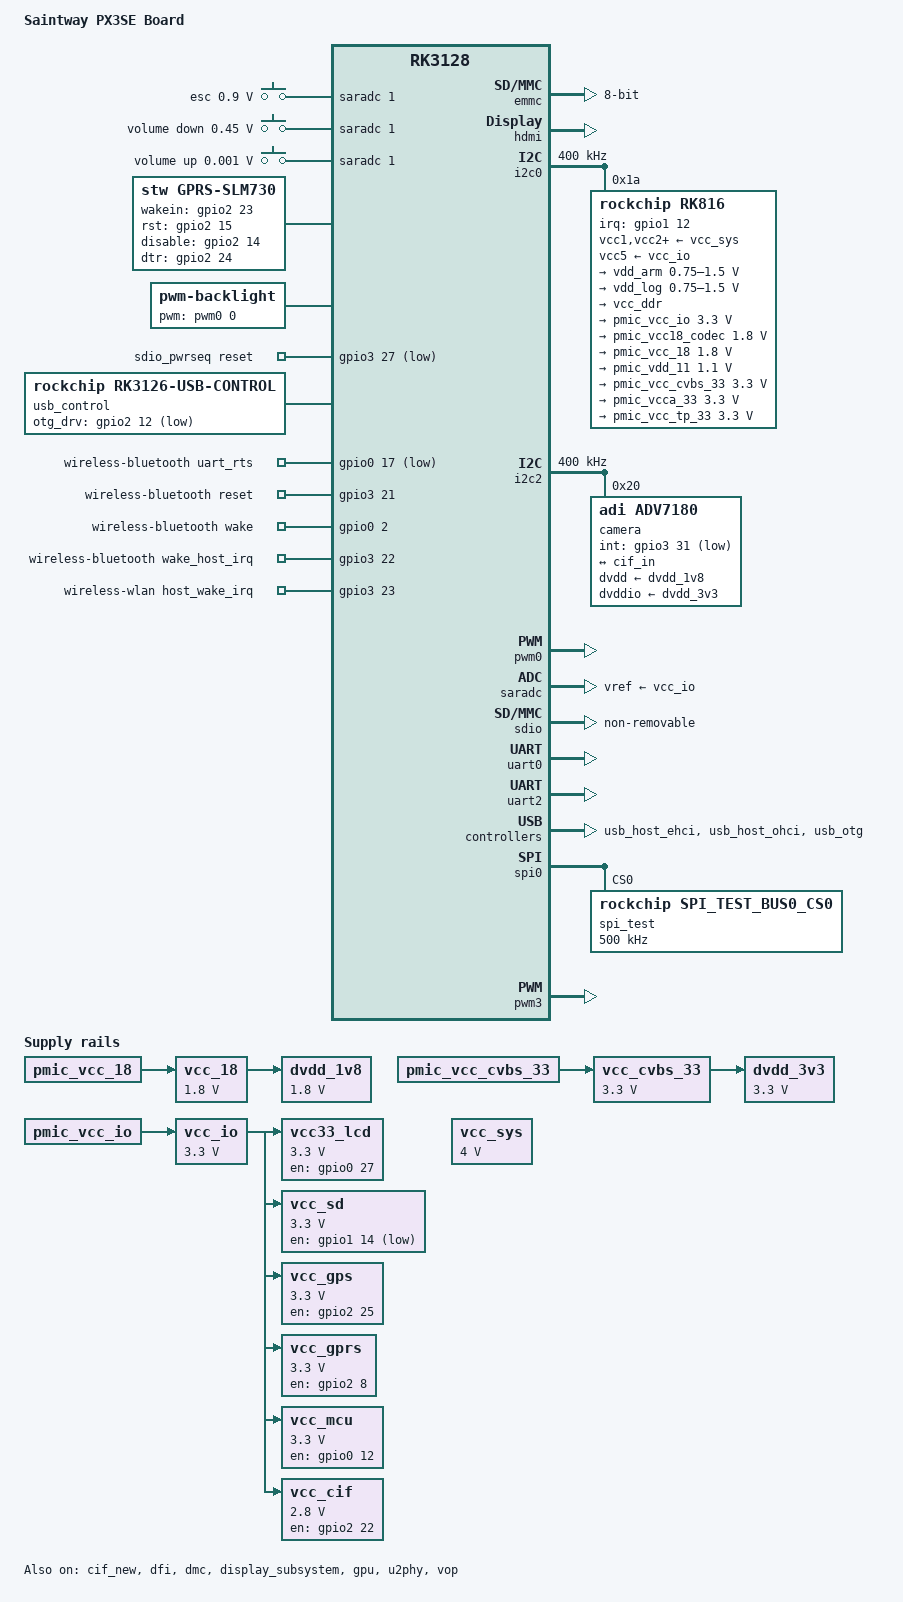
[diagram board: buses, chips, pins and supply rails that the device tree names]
// SPDX-License-Identifier: (GPL-2.0+ OR MIT)
/dts-v1/;

#include "rk3128.dtsi"
#include <dt-bindings/display/drm_mipi_dsi.h>
#include <dt-bindings/input/input.h>
//#include <lcd-mipi.dtsi>


/ {
	model = "Saintway PX3SE Board";
	compatible = "px3se-saintway";

	chosen {
		bootargs = "loglevel=7 root=PARTUUID=614e0000-0000-4b53-8000-1d28000054a9 rootwait";
	};

	adc-keys {
		compatible = "adc-keys";
		io-channels = <&saradc 1>;
		io-channel-names = "buttons";
		poll-interval = <100>;
		keyup-threshold-microvolt = <1800000>;
		
		esc-key {
			linux,code = <KEY_ESC>;
			label = "esc";
			press-threshold-microvolt = <900000>;
		};

		vol-down-key {
			linux,code = <KEY_VOLUMEDOWN>;
			label = "volume down";
			press-threshold-microvolt = <450000>;
		};

		vol-up-key {
			linux,code = <KEY_VOLUMEUP>;
			label = "volume up";
			press-threshold-microvolt = <1000>;
		};
	};

	gprs: gpio-pwr {
                compatible = "stw,gprs-slm730";
                wakein = <&gpio2 23 GPIO_ACTIVE_HIGH>;
                rst = <&gpio2 15 GPIO_ACTIVE_HIGH>;
                disable = <&gpio2 14 GPIO_ACTIVE_HIGH>;
                dtr = <&gpio2 24 GPIO_ACTIVE_HIGH>;
                pinctrl-names = "default";
                pinctrl-0 = <&gprs_slm730>;		
                status = "okay";
        };

       gpio_control: gpio_control {
                compatible = "stw,gpio_control";
                status = "okay";
        };

	backlight: backlight {
		compatible = "pwm-backlight";

		brightness-levels = <0 1 2 3 4 5 6 7 8 9 10 11 12 13 14 15 16
		17 18 19 20 21 22 23 24 25 26 27 28 29 30 31 32 33 34 35 36 37
		38 39 40 41 42 43 44 45 46 47 48 49 50 51 52 53 54 55 56 57 58
		59 60 61 62 63 64 65 66 67 68 69 70 71 72 73 74 75 76 77 78 79
		80 81 82 83 84 85 86 87 88 89 90 91 92 93 94 95 96 97 98 99 100
		101 102 103 104 105 106 107 108 109 110 111 112 113 114 115 116
		117 118 119 120 121 122 123 124 125 126 127 128 129 130 131 132
		133 134 135 136 137 138 139 140 141 142 143 144 145 146 147 148
		149 150 151 152 153 154 155 156 157 158 159 160 161 162 163 164
		165 166 167 168 169 170 171 172 173 174 175 176 177 178 179 180
		181 182 183 184 185 186 187 188 189 190 191 192 193 194 195 196
		197 198 199 200 201 202 203 204 205 206 207 208 209 210 211 212
		213 214 215 216 217 218 219 220 221 222 223 224 225 226 227 228
		229 230 231 232 233 234 235 236 237 238 239 240 241 242 243 244
		245 246 247 248 249 250 251 252 253 254 255>;

		default-brightness-level = <128>;
		pwms = <&pwm0 0 25000 0>;

		status = "okay";
	};

	fiq-debugger {
		compatible = "rockchip,fiq-debugger";

		pinctrl-names = "default";
		pinctrl-0 = <&uart2_xfer>;

		rockchip,serial-id = <2>;
		rockchip,wake-irq = <0>;
		/* If enable uart uses irq instead of fiq */
		rockchip,irq-mode-enable = <0>;
		rockchip,baudrate = <115200>;  /* Only 115200 and 1500000 */
		/* Choose a reserved/no-in-use irq */
		interrupts = <GIC_SPI 127 IRQ_TYPE_LEVEL_LOW>;
		status = "okay";
	};

	sdio_pwrseq: sdio-pwrseq {
		compatible = "mmc-pwrseq-simple";
		/* Use external clock power by VCC_RTC */
		pinctrl-names = "default";
		pinctrl-0 = <&wifi_pwr>;

		/*
		 * On the module itself this is one of these (depending
		 * on the actual card populated):
		 * - SDIO_RESET_L_WL_REG_ON
		 * - PDN (power down when low)
		 */
		reset-gpios = <&gpio3 27 GPIO_ACTIVE_LOW>;
	};

	sound-rk312x {
		compatible = "simple-audio-card";
		status = "disabled";

		simple-audio-card,format = "i2s";
		simple-audio-card,mclk-fs = <256>;
		simple-audio-card,name = "rockchip,rk312x-codec";
		simple-audio-card,cpu {
			sound-dai = <&i2s_8ch>;
		};
		simple-audio-card,codec {
			sound-dai = <&codec>;
		};
	};

	usb_control {
		compatible = "rockchip,rk3126-usb-control";

		otg_drv_gpio = <&gpio2 12 GPIO_ACTIVE_LOW>;
		rockchip,remote_wakeup;
		rockchip,usb_irq_wakeup;
	};

	vcc_18: vcc-18 {
		compatible = "regulator-fixed";
		regulator-name = "vcc_18";
		regulator-min-microvolt = <1800000>;
		regulator-max-microvolt = <1800000>;
		regulator-always-on;
		vin-supply = <&pmic_vcc_18>;
	};

	/* vcc33_lcd and vcc18_lcd share the same enable pin */
	vcc33_lcd: vcc33-lcd {
		compatible = "regulator-fixed";
		pinctrl-names = "default";
		pinctrl-0 = <&lcdc_pwr_en>;

		gpio = <&gpio0 27 GPIO_ACTIVE_HIGH>;
		enable-active-high;

		regulator-name = "vcc33_lcd";
		regulator-min-microvolt = <3300000>;
		regulator-max-microvolt = <3300000>;
		vin-supply = <&vcc_io>;
	};

	vcc_cvbs_33: vcc-cvbs-33 {
		compatible = "regulator-fixed";
		regulator-name= "vcc-cvbs-33";
		regulator-min-microvolt = <3300000>;
		regulator-max-microvolt = <3300000>;
		vin-supply = <&pmic_vcc_cvbs_33>;
	};

	vcc_sys: vcc-sys {
		compatible = "regulator-fixed";
		regulator-name = "vcc_sys";
		regulator-min-microvolt = <4000000>;
		regulator-max-microvolt = <4000000>;
		regulator-always-on;
	};

	vcc_io: vcc-io {
		compatible = "regulator-fixed";
		regulator-name = "vcc_io";
		regulator-min-microvolt = <3300000>;
		regulator-max-microvolt = <3300000>;
		regulator-always-on;
		vin-supply = <&pmic_vcc_io>;
	};

	vcc_sd: vcc-sd {
		compatible = "regulator-fixed";
		gpio = <&gpio1 14 GPIO_ACTIVE_LOW>;
		pinctrl-names = "default";
		pinctrl-0 = <&sdmmc_pwr>;
		regulator-name = "vcc_sd";
		regulator-min-microvolt = <3300000>;
		regulator-max-microvolt = <3300000>;
		vin-supply = <&vcc_io>;
	};

	vcc_gps: vcc-gps {
		compatible = "regulator-fixed";
		enable-active-high;
		gpio = <&gpio2 25 GPIO_ACTIVE_HIGH>;
		pinctrl-names = "default";
		pinctrl-0 = <&gps_pwr>;
		regulator-name = "vcc_gps";
		regulator-min-microvolt = <3300000>;
		regulator-max-microvolt = <3300000>;
		regulator-always-on;
		regulator-boot-on;
		vin-supply = <&vcc_io>;
	};

	vcc_gprs: vcc-gprs {
		compatible = "regulator-fixed";
		enable-active-high;
		gpio = <&gpio2 8 GPIO_ACTIVE_HIGH>;
		pinctrl-names = "default";
		pinctrl-0 = <&gprs_pwr>;
		regulator-name = "vcc_gprs";
		regulator-min-microvolt = <3300000>;
		regulator-max-microvolt = <3300000>;
		regulator-always-on;
		regulator-boot-on;
		vin-supply = <&vcc_io>;
	};

	vcc_mcu: vcc-mcu {
		compatible = "regulator-fixed";
		enable-active-high;
		gpio = <&gpio0 12 GPIO_ACTIVE_HIGH>;
		pinctrl-names = "default";
		pinctrl-0 = <&mcu_pwr>;
		regulator-name = "vcc_mcu";
		regulator-min-microvolt = <3300000>;
		regulator-max-microvolt = <3300000>;
		regulator-always-on;
		regulator-boot-on;
		vin-supply = <&vcc_io>;
	};

	vcc_cif: vcc-cif {
		compatible = "regulator-fixed";
		enable-active-high;
		gpio = <&gpio2 22 GPIO_ACTIVE_HIGH>;
		pinctrl-names = "default";
		pinctrl-0 = <&cif_pwr>;
		regulator-name = "vcc_cif";
		regulator-min-microvolt = <2800000>;
		regulator-max-microvolt = <2800000>;
		regulator-always-on;
		regulator-boot-on;
		vin-supply = <&vcc_io>;
	};

	dvdd_1v8: dvdd-1v8 {
		compatible = "regulator-fixed";
		regulator-name = "dvdd-1v8";
		regulator-min-microvolt = <1800000>;
		regulator-max-microvolt = <1800000>;
		vin-supply = <&vcc_18>;
	};

	dvdd_3v3: dvdd-3v3 {
		compatible = "regulator-fixed";
		regulator-name = "dvdd-3v3";
		regulator-min-microvolt = <3300000>;
		regulator-max-microvolt = <3300000>;
		vin-supply = <&vcc_cvbs_33>;
	};

	wireless-bluetooth {
		compatible = "bluetooth-platdata";

		keep_bt_power_on;

		clocks = <&rk816 1>;
                clock-names = "ext_clock";
		uart_rts_gpios = <&gpio0 17 GPIO_ACTIVE_LOW>;
		pinctrl-names = "default","rts_gpio";
                pinctrl-0 = <&uart0_rts>;
                pinctrl-1 = <&uart0_gpios>;

		//BT,power_gpio = <&gpio3 21 GPIO_ACTIVE_HIGH>;
		BT,reset_gpio    = <&gpio3 21 GPIO_ACTIVE_HIGH>;
		BT,wake_gpio = <&gpio0 2 GPIO_ACTIVE_HIGH>;
		BT,wake_host_irq = <&gpio3 22 GPIO_ACTIVE_HIGH>;
		/* TODO: disabled because it doesn't work */
		status = "okay";
	};

	wireless-wlan {
		compatible = "wlan-platdata";
		pinctrl-names = "default";
		pinctrl-0 = <&wifi_en>;
		wifi_chip_type = "ap6212";
		sdio_vref = <1800>; /*1800mv or 3300mv*/
		WIFI,host_wake_irq = <&gpio3 23 GPIO_ACTIVE_HIGH>;
		/* WIFI power controller by sdio pwrseq */
                //WIFI,poweren_gpio  = <&gpio3 24  GPIO_ACTIVE_HIGH>;
                //WIFI,vbat_gpio  = <&gpio1 3 GPIO_ACTIVE_HIGH>;
		status = "okay";
	};

};

&cif_new {
	status = "okay";

	port {
		cif_in: endpoint {
			remote-endpoint = <&adv7180_out>;
			vsync-active = <0>;
			hsync-active = <1>;
		};
	};
};

&codec {
	#sound-dai-cells = <0>;
	hp-ctl-gpios = <&gpio3 20 GPIO_ACTIVE_HIGH>;
	spk-ctl-gpios = <&gpio0 30 GPIO_ACTIVE_HIGH>;
	spk-mute-delay = <200>;
	hp-mute-delay = <100>;
	spk_volume = <25>;
	hp_volume = <25>;
	capture_volume = <26>;
	gpio_debug = <1>;
	codec_hp_det = <1>;
	status = "disabled";
};

&cpu0 {
	cpu-supply = <&vdd_arm>;
};

&dfi {
	status = "okay";
};

&dmc {
	center-supply = <&vdd_log>;
	status = "okay";
};

&emmc {
	clock-frequency = <50000000>;
	clock-freq-min-max = <400000 50000000>;
	supports-highspeed;
	supports-emmc;
	bootpart-no-access;
	supports-DDR_MODE;
	ignore-pm-notify;
	keep-power-in-suspend;
	//poll-hw-reset

	bus-width = <8>;
	num-slots = <1>;
	pinctrl-names = "default";
	pinctrl-0 = <&emmc_clk &emmc_cmd &emmc_bus8>;
	status = "okay";
};

&display_subsystem {
	status = "okay";
};

&gpu {
	status = "okay";
	mali-supply = <&vdd_log>;
};

&hdmi {
	status = "okay";
};

&i2c0 {
	status = "okay";
	clock-frequency = <400000>;

	rk816: pmic@1a {
		compatible = "rockchip,rk816";
		status = "okay";
		reg = <0x1a>;
		clock-output-names = "xin32k", "rk816-clkout2";
		interrupt-parent = <&gpio1>;
		interrupts = <12 IRQ_TYPE_LEVEL_LOW>;
		pinctrl-names = "default";
		pinctrl-0 = <&pmic_int_l>;
		rockchip,system-power-controller;
		wakeup-source;
		#clock-cells = <1>;
		gpio-controller;
		#gpio-cells = <2>;
		extcon = <&u2phy>;

		vcc1-supply = <&vcc_sys>;
		vcc2-supply = <&vcc_sys>;
		vcc3-supply = <&vcc_sys>;
		vcc4-supply = <&vcc_sys>;
		vcc5-supply = <&vcc_io>;
		vcc6-supply = <&vcc_sys>;

		gpio {
			status = "okay";
		};

		pwrkey {
			status = "okay";
		};

		rtc {
			status = "okay";
		};

		regulators {
			vdd_arm: DCDC_REG1{
				regulator-name= "vdd-arm";
				regulator-min-microvolt = <750000>;
				regulator-max-microvolt = <1500000>;
				regulator-ramp-delay = <6001>;
				regulator-always-on;
				regulator-boot-on;
				regulator-state-mem {
					regulator-on-in-suspend;
					regulator-suspend-microvolt = <900000>;
				};
			};

			vdd_log: DCDC_REG2 {
				regulator-name= "vdd-logic";
				regulator-min-microvolt = <750000>;
				regulator-max-microvolt = <1500000>;
				regulator-ramp-delay = <6001>;
				regulator-always-on;
				regulator-boot-on;
				regulator-state-mem {
					regulator-on-in-suspend;
					regulator-suspend-microvolt = <1000000>;
				};
			};

			vcc_ddr: DCDC_REG3 {
				regulator-name = "vcc-ddr";
				regulator-always-on;
				regulator-boot-on;
			};

			pmic_vcc_io: DCDC_REG4 {
				regulator-name = "pmic-vcc-io";
				regulator-min-microvolt = <3300000>;
				regulator-max-microvolt = <3300000>;
				regulator-always-on;
				regulator-boot-on;
				regulator-state-mem {
					regulator-on-in-suspend;
					regulator-suspend-microvolt = <3000000>;
				};
			};

			pmic_vcc18_codec: LDO_REG1 {
				regulator-name = "pmic-vcc18-codec";
				regulator-min-microvolt = <1800000>;
				regulator-max-microvolt = <1800000>;
				regulator-always-on;
				regulator-boot-on;
				regulator-state-mem {
					regulator-off-in-suspend;
				};
			};

			pmic_vcc_18: LDO_REG2 {
				regulator-name = "pmic-vcc_18";
				regulator-min-microvolt = <1800000>;
				regulator-max-microvolt = <1800000>;
				regulator-always-on;
				regulator-boot-on;
				regulator-state-mem {
					regulator-off-in-suspend;
				};
			};

			pmic_vdd_11: LDO_REG3 {
				regulator-name = "pmic-vdd-11";
				regulator-min-microvolt = <1100000>;
				regulator-max-microvolt = <1100000>;
				regulator-always-on;
				regulator-boot-on;
				regulator-state-mem {
					regulator-on-in-suspend;
					regulator-suspend-microvolt = <1100000>;
				};
			};

			pmic_vcc_cvbs_33: LDO_REG4 {
				regulator-name= "pmic-vcc-cvbs-33";
				regulator-min-microvolt = <3300000>;
				regulator-max-microvolt = <3300000>;
				regulator-state-mem {
					regulator-off-in-suspend;
				};
			};

			pmic_vcca_33: LDO_REG5 {
				regulator-name= "pmic-vcca-33";
				regulator-min-microvolt = <3300000>;
				regulator-max-microvolt = <3300000>;
				regulator-always-on;
				regulator-boot-on;
				regulator-state-mem {
					regulator-off-in-suspend;
				};
			};

			pmic_vcc_tp_33: LDO_REG6 {
				regulator-name= "pmic-vcc-tp-33";
				regulator-min-microvolt = <3300000>;
				regulator-max-microvolt = <3300000>;
				regulator-state-mem {
					regulator-on-in-suspend;
					regulator-suspend-microvolt = <3300000>;
				};
			};
		};
	};
};

&i2c2 {
	status = "okay";
	clock-frequency = <400000>;

	camera: adv7180@20 {
		compatible = "adi,adv7180";
		reg = <0x20>;

		pinctrl-names = "default";
		pinctrl-0 = <&cif_int>;

		dvdd-supply = <&dvdd_1v8>;
		dvddio-supply = <&dvdd_3v3>;
		int-gpios = <&gpio3 31 GPIO_ACTIVE_LOW>;

		status = "okay";

		port {
			adv7180_out: endpoint {
				remote-endpoint = <&cif_in>;
			};
		};
	};

};

&i2s_2ch {
	pinctrl-names = "default";
	pinctrl-0 = <&i2s_bus>;
	#sound-dai-cells = <0>;
	status = "disabled";
};

&i2s_8ch {
	#sound-dai-cells = <0>;
	status = "disabled";
};

&pwm0 {
	status = "okay";
};

&saradc {
	status = "okay";
	vref-supply = <&vcc_io>;
};

&sdio {
	cap-mmc-highspeed;
	cap-sd-highspeed;
	cap-sdio-irq;
	clock-frequency = <37500000>;
	clock-freq-min-max = <200000 37500000>;
	ignore-pm-notify;
	keep-power-in-suspend;
	mmc-pwrseq = <&sdio_pwrseq>;
	non-removable;
	supports-sdio;

	status = "okay";
};

&sdmmc {
	clock-frequency = <37500000>;
	clock-freq-min-max = <400000 37500000>;
	supports-highspeed;
	supports-sd;
	broken-cd;
	card-detect-delay = <200>;
	ignore-pm-notify;
	keep-power-in-suspend;
	vmmc-supply = <&vcc_sd>;
	cd-gpios = <&gpio1 17 GPIO_ACTIVE_HIGH>;
	status = "disabled";
};

&u2phy {
	status = "okay";

	u2phy_otg: otg-port {
		status = "okay";
	};

	u2phy_host: host-port {
		status = "okay";
	};
};

&uart0 {
	status = "okay";
	pinctrl-names = "default";
        pinctrl-0 = <&uart0_xfer  &uart0_cts>;
};

&uart1 {
	/* disable uart1 explicitly since fiq-debugger is on uart1 */
        pinctrl-names = "default";
        pinctrl-0 = <&uart1_xfer>;
	status = "disable";
};

&uart2{
	status = "okay";
};

&usb_host_ehci {
	status = "okay";
};

&usb_host_ohci {
	status = "okay";
};

&usb_otg {
	status = "okay";
};

&vop {
	status = "okay";
};

&vop_mmu {
	status = "okay";
};

&spi0{
	status = "okay";
	max-freq = <48000000>;
	//dma-names = "tx","rx";
	pinctrl-names = "default";
	pinctrl-0 = <&spi2_clk &spi2_tx &spi2_rx &spi2_cs0>;
	spi_test@00{
		compatible = "rockchip,spi_test_bus0_cs0";
		id = <0>;
		reg = <0>;
		spi-max-frequency = <500000>;
	};
};


&pwm3 {
        status = "okay";
        compatible = "rockchip,remotectl-pwm";
        remote_pwm_id = <3>;
        handle_cpu_id = <1>;
        remote_support_psci = <0>;
        interrupts = <GIC_SPI 30 IRQ_TYPE_LEVEL_HIGH>;
        ir_key1{
        status = "okay";
                rockchip,usercode = <0x4040>;
                rockchip,key_table =
                        <0xf2   KEY_REPLY>,
                        <0xba   KEY_BACK>,
                        <0xf4   KEY_UP>,
                        <0xf1   KEY_DOWN>,
                        <0xef   KEY_LEFT>,
                        <0xee   KEY_RIGHT>,
                        <0xbd   KEY_HOME>,
                        <0xea   KEY_VOLUMEUP>,
                        <0xe3   KEY_VOLUMEDOWN>,
                        <0xe2   KEY_SEARCH>,
                        <0xb2   KEY_POWER>,
                        <0xbc   KEY_MUTE>,
                        <0xec   KEY_MENU>,
                        <0xbf   0x190>,
                        <0xe0   0x191>,
                        <0xe1   0x192>,
                        <0xe9   183>,
                        <0xe6   248>,
                        <0xe8   185>,
                        <0xe7   186>,
                        <0xf0   388>,
                        <0xbe   0x175>;
        };
        ir_key2{
                rockchip,usercode = <0xff00>;
                rockchip,key_table =
                        <0xf9   KEY_HOME>,
                        <0xbf   KEY_BACK>,
                        <0xfb   KEY_MENU>,
                        <0xaa   KEY_REPLY>,
                        <0xb9   KEY_UP>,
                        <0xe9   KEY_DOWN>,
                        <0xb8   KEY_LEFT>,
                        <0xea   KEY_RIGHT>,
                        <0xeb   KEY_VOLUMEDOWN>,
                        <0xef   KEY_VOLUMEUP>,
                        <0xf7   KEY_MUTE>,
                        <0xe7   KEY_POWER>,
                        <0xfc   KEY_POWER>,
                        <0xa9   KEY_VOLUMEDOWN>,
                        <0xa8   KEY_VOLUMEDOWN>,
                        <0xe0   KEY_VOLUMEDOWN>,
                        <0xa5   KEY_VOLUMEDOWN>,
                        <0xab   183>,
                        <0xb7   388>,
                        <0xf8   184>,
                        <0xaf   185>,
                        <0xed   KEY_VOLUMEDOWN>,
                        <0xee   186>,
                        <0xb3   KEY_VOLUMEDOWN>,
                        <0xf1   KEY_VOLUMEDOWN>,
                        <0xf2   KEY_VOLUMEDOWN>,
                        <0xf3   KEY_SEARCH>,
                        <0xb4   KEY_VOLUMEDOWN>,
                        <0xbe   KEY_SEARCH>;
        };
        ir_key3{
                rockchip,usercode = <0x1dcc>;
                rockchip,key_table =
                        <0xee   KEY_REPLY>,
                        <0xf0   KEY_BACK>,
                        <0xf8   KEY_UP>,
                        <0xbb   KEY_DOWN>,
                        <0xef   KEY_LEFT>,
                        <0xed   KEY_RIGHT>,
                        <0xfc   KEY_HOME>,
                        <0xf1   KEY_VOLUMEUP>,
                        <0xfd   KEY_VOLUMEDOWN>,
                        <0xb7   KEY_SEARCH>,
                        <0xff   KEY_POWER>,
                        <0xf3   KEY_MUTE>,
                        <0xbf   KEY_MENU>,
                        <0xf9   0x191>,
                        <0xf5   0x192>,
                        <0xb3   388>,
                        <0xbe   KEY_1>,
                        <0xba   KEY_2>,
                        <0xb2   KEY_3>,
                        <0xbd   KEY_4>,
                        <0xf9   KEY_5>,
                        <0xb1   KEY_6>,
                        <0xfc   KEY_7>,
                        <0xf8   KEY_8>,
                        <0xb0   KEY_9>,
                        <0xb6   KEY_0>,
                        <0xb5   KEY_BACKSPACE>;
        };
};


&pinctrl {
	camera {
		cif_int: cif-int {
			rockchip,pins = <2 2 RK_FUNC_GPIO &pcfg_pull_default>;
		};
	};

	pmic {
		pmic_int_l: pmic-int-l {
			rockchip,pins = <1 12 RK_FUNC_GPIO &pcfg_pull_default>;
		};
	};

	sdmmc {
		sdmmc_pwr: sdmmc-pwr {
			rockchip,pins = <1 14 RK_FUNC_GPIO &pcfg_pull_default>;
		};
	};

	gps {
		gps_pwr: gps-pwr {
			rockchip,pins = <2 25 RK_FUNC_GPIO &pcfg_pull_default>;
		};
	};

	mcu {
		mcu_pwr: mcu-pwr {
			rockchip,pins = <0 12 RK_FUNC_GPIO &pcfg_pull_default>;
		};
	};

	gprs {
		gprs_pwr: gprs-pwr {
			rockchip,pins = <2 8 RK_FUNC_GPIO &pcfg_pull_default>;
		};
	};

	cif {
		cif_pwr: cif-pwr {
			rockchip,pins = <2 22 RK_FUNC_GPIO &pcfg_pull_default>;
		};
	};

	lcdc {
		lcdc_pwr_en: lcdc-pwr-en {
			rockchip,pins = <0 27 RK_FUNC_GPIO &pcfg_pull_default>;
		};
	};

	wifi {
		wifi_en: wifi-en {
			rockchip,pins = <1 3 RK_FUNC_GPIO &pcfg_output_high>;
		};
		wifi_pwr: wifi-pwr {
			rockchip,pins = <3 27 RK_FUNC_GPIO &pcfg_pull_default>;
		};
	};

        wireless-bluetooth {
                uart0_gpios: uart0-gpios {
                        rockchip,pins = <0 17 RK_FUNC_GPIO &pcfg_pull_none>;
                };
        };
	
	4g {
		gprs_slm730: gprs-slm730{
			rockchip,pins = <2 23 RK_FUNC_GPIO &pcfg_pull_default>,
					<2 15 RK_FUNC_GPIO &pcfg_pull_default>,
					<2 14 RK_FUNC_GPIO &pcfg_pull_default>,
					<2 24 RK_FUNC_GPIO &pcfg_pull_default>;
		};
	};

	lcdc {
                lcdc_lcdc: lcdc-lcdc {
                        rockchip,pins =
                                /* depend on the hardware */
                                <2 RK_PB0 1 &pcfg_pull_none>, /* DCLK */
                                <2 RK_PB1 1 &pcfg_pull_none>, /* HSYNC */
                                <2 RK_PB2 1 &pcfg_pull_none>, /* VSYNC */
                                <2 RK_PB3 1 &pcfg_pull_none>, /* DEN */
                                <2 RK_PB4 1 &pcfg_pull_none>, /* DATA10 */
                                <2 RK_PB5 1 &pcfg_pull_none>, /* DATA11 */
                                <2 RK_PB6 1 &pcfg_pull_none>, /* DATA12 */
                                <2 RK_PB7 1 &pcfg_pull_none>, /* DATA13 */
                                <2 RK_PC0 1 &pcfg_pull_none>, /* DATA14 */
                                <2 RK_PC1 1 &pcfg_pull_none>, /* DATA15 */
                                <2 RK_PC2 1 &pcfg_pull_none>, /* DATA16 */
                                <2 RK_PC3 1 &pcfg_pull_none>; /* DATA17 */
                                /* <2 RK_PC4 1 &pcfg_pull_none>, /* DATA18 */
                                /* <2 RK_PC5 1 &pcfg_pull_none>, /* DATA19 */
                                /* <2 RK_PC6 1 &pcfg_pull_none>, /* DATA20 */
                                /* <2 RK_PC7 1 &pcfg_pull_none>, /* DATA21 */
                                /* <2 RK_PD0 1 &pcfg_pull_none>, /* DATA22 */
                                /* <2 RK_PD1 1 &pcfg_pull_none>; /* DATA23 */
                };
        };
};
